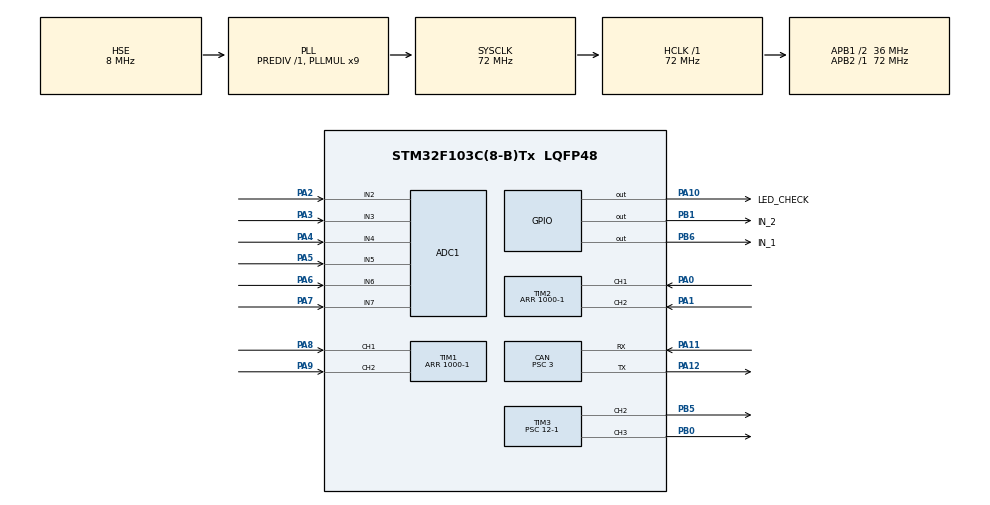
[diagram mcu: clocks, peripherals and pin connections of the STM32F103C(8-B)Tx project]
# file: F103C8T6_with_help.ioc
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ADC1.Channel-10\#ChannelRegularConversion=ADC_CHANNEL_2
ADC1.Channel-11\#ChannelRegularConversion=ADC_CHANNEL_3
ADC1.Channel-12\#ChannelRegularConversion=ADC_CHANNEL_4
ADC1.Channel-13\#ChannelRegularConversion=ADC_CHANNEL_5
ADC1.Channel-14\#ChannelRegularConversion=ADC_CHANNEL_6
ADC1.Channel-15\#ChannelRegularConversion=ADC_CHANNEL_7
ADC1.ContinuousConvMode=ENABLE
ADC1.DiscontinuousConvMode=DISABLE
ADC1.EnableInjectedConversion=DISABLE
ADC1.EnableRegularConversion=ENABLE
ADC1.ExternalTrigConv=ADC_EXTERNALTRIGCONV_T3_TRGO
ADC1.ExternalTrigInjecConv=ADC_INJECTED_SOFTWARE_START
ADC1.InjNumberOfConversion=4
ADC1.NbrOfConversion=6
ADC1.NbrOfConversionFlag=1
ADC1.Rank-10\#ChannelRegularConversion=1
ADC1.Rank-11\#ChannelRegularConversion=2
ADC1.Rank-12\#ChannelRegularConversion=3
ADC1.Rank-13\#ChannelRegularConversion=4
ADC1.Rank-14\#ChannelRegularConversion=5
ADC1.Rank-15\#ChannelRegularConversion=6
ADC1.SamplingTime-10\#ChannelRegularConversion=ADC_SAMPLETIME_239CYCLES_5
ADC1.SamplingTime-11\#ChannelRegularConversion=ADC_SAMPLETIME_239CYCLES_5
ADC1.SamplingTime-12\#ChannelRegularConversion=ADC_SAMPLETIME_239CYCLES_5
ADC1.SamplingTime-13\#ChannelRegularConversion=ADC_SAMPLETIME_239CYCLES_5
ADC1.SamplingTime-14\#ChannelRegularConversion=ADC_SAMPLETIME_239CYCLES_5
ADC1.SamplingTime-15\#ChannelRegularConversion=ADC_SAMPLETIME_239CYCLES_5
ADC1.master=1
CAN.ABOM=ENABLE
CAN.AWUM=ENABLE
CAN.BS1=CAN_BS1_10TQ
CAN.CalculateBaudRate=999999
CAN.CalculateTimeBit=1000
CAN.CalculateTimeQuantum=83.33333333333334
CAN.NART=ENABLE
CAN.Prescaler=3
CAN.RFLM=ENABLE
CAN.TXFP=ENABLE
Dma.ADC1.0.Direction=DMA_PERIPH_TO_MEMORY
Dma.ADC1.0.Instance=DMA1_Channel1
Dma.ADC1.0.MemDataAlignment=DMA_MDATAALIGN_HALFWORD
Dma.ADC1.0.MemInc=DMA_MINC_ENABLE
Dma.ADC1.0.Mode=DMA_CIRCULAR
Dma.ADC1.0.PeriphDataAlignment=DMA_PDATAALIGN_HALFWORD
Dma.ADC1.0.PeriphInc=DMA_PINC_DISABLE
Dma.ADC1.0.Priority=DMA_PRIORITY_VERY_HIGH
Dma.Request0=ADC1
Mcu.Family=STM32F1
Mcu.Name=STM32F103C(8-B)Tx
Mcu.Package=LQFP48
NVIC.ADC1_2_IRQn=true\:0\:0\:false\:false\:true\:true\:true\:true
NVIC.CAN1_RX1_IRQn=true\:0\:0\:false\:false\:true\:true\:true\:true
NVIC.CAN1_SCE_IRQn=true\:0\:0\:false\:false\:true\:true\:true\:true
NVIC.DMA1_Channel1_IRQn=true\:0\:0\:false\:false\:true\:false\:true\:true
NVIC.PriorityGroup=NVIC_PRIORITYGROUP_4
NVIC.TIM3_IRQn=true\:0\:0\:false\:false\:true\:true\:true\:true
NVIC.TIM4_IRQn=true\:0\:0\:false\:false\:true\:true\:true\:true
NVIC.USB_HP_CAN1_TX_IRQn=true\:0\:0\:false\:false\:true\:true\:true\:true
NVIC.USB_LP_CAN1_RX0_IRQn=true\:0\:0\:false\:false\:true\:true\:true\:true
PA0-WKUP.Signal=S_TIM2_CH1_ETR
PA1.Signal=S_TIM2_CH2
PA10.GPIO_Label=LED_CHECK
PA10.Signal=GPIO_Output
PA11.Mode=CAN_Activate
PA11.Signal=CAN_RX
PA12.Mode=CAN_Activate
PA12.Signal=CAN_TX
PA13.Mode=Serial_Wire
PA13.Signal=SYS_JTMS-SWDIO
PA14.Mode=Serial_Wire
PA14.Signal=SYS_JTCK-SWCLK
PA2.Signal=ADCx_IN2
PA3.Signal=ADCx_IN3
PA4.Signal=ADCx_IN4
PA5.Signal=ADCx_IN5
PA6.Signal=ADCx_IN6
PA7.Signal=ADCx_IN7
PA8.Signal=S_TIM1_CH1
PA9.Signal=S_TIM1_CH2
PB0.Signal=S_TIM3_CH3
PB1.GPIO_Label=IN_2
PB1.Signal=GPIO_Output
PB5.Signal=S_TIM3_CH2
PB6.GPIO_Label=IN_1
PB6.Signal=GPIO_Output
PD0-OSC_IN.Mode=HSE-External-Oscillator
PD0-OSC_IN.Signal=RCC_OSC_IN
PD1-OSC_OUT.Mode=HSE-External-Oscillator
PD1-OSC_OUT.Signal=RCC_OSC_OUT
ProjectManager.HeapSize=0x200
ProjectManager.StackSize=0x400
ProjectManager.TargetToolchain=STM32CubeIDE
RCC.ADCPresc=RCC_ADCPCLK2_DIV6
RCC.AHBFreq_Value=72000000
RCC.APB1CLKDivider=RCC_HCLK_DIV2
RCC.APB1Freq_Value=36000000
RCC.APB1TimFreq_Value=72000000
RCC.APB2Freq_Value=72000000
RCC.APB2TimFreq_Value=72000000
RCC.HCLKFreq_Value=72000000
RCC.PLLMUL=RCC_PLL_MUL9
RCC.PLLSourceVirtual=RCC_PLLSOURCE_HSE
RCC.SYSCLKFreq_VALUE=72000000
RCC.SYSCLKSource=RCC_SYSCLKSOURCE_PLLCLK
RCC.USBFreq_Value=72000000
SH.ADCx_IN2.0=ADC1_IN2,IN2
SH.ADCx_IN3.0=ADC1_IN3,IN3
SH.ADCx_IN4.0=ADC1_IN4,IN4
SH.ADCx_IN5.0=ADC1_IN5,IN5
SH.ADCx_IN6.0=ADC1_IN6,IN6
SH.ADCx_IN7.0=ADC1_IN7,IN7
SH.S_TIM1_CH1.0=TIM1_CH1,Encoder_Interface
SH.S_TIM1_CH2.0=TIM1_CH2,Encoder_Interface
SH.S_TIM2_CH1_ETR.0=TIM2_CH1,Encoder_Interface
SH.S_TIM2_CH2.0=TIM2_CH2,Encoder_Interface
SH.S_TIM3_CH2.0=TIM3_CH2,PWM Generation2 CH2
SH.S_TIM3_CH3.0=TIM3_CH3,PWM Generation3 CH3
TIM1.IC1Filter=4
TIM1.IC2Filter=4
TIM1.Period=1000-1
TIM2.IC1Filter=4
TIM2.IC2Filter=4
TIM2.Period=1000-1
TIM3.Channel-PWM\ Generation2\ CH2=TIM_CHANNEL_2
TIM3.Channel-PWM\ Generation3\ CH3=TIM_CHANNEL_3
TIM3.CounterMode=TIM_COUNTERMODE_CENTERALIGNED1
TIM3.Period=1000-1
TIM3.Prescaler=12-1
TIM3.TIM_MasterOutputTrigger=TIM_TRGO_UPDATE
TIM4.Period=1000-1
TIM4.Prescaler=12-1
VP_CRC_VS_CRC.Mode=CRC_Activate
VP_TIM4_VS_ClockSourceINT.Mode=Internal
board=custom

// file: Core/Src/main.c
/* USER CODE BEGIN Header */
/**
 ******************************************************************************
 * @file           : main.c
 * @brief          : Main program body
 ******************************************************************************
 * @attention
 *
 * Copyright (c) 2022 STMicroelectronics.
 * All rights reserved.
 *
 * This software is licensed under terms that can be found in the LICENSE file
 * in the root directory of this software component.
 * If no LICENSE file comes with this software, it is provided AS-IS.
 *
 ******************************************************************************
 */
/* USER CODE END Header */
#include "main.h"
#include "adc.h"
#include "can.h"
#include "crc.h"
#include "dma.h"
#include "tim.h"
#include "gpio.h"

/* USER CODE BEGIN PV */
// Motors
uint8_t type_system = 0;

/* USER CODE END PV */

void SystemClock_Config(void);

int main(void) {

	/* MCU Configuration--------------------------------------------------------*/

	/* Reset of all peripherals, Initializes the Flash interface and the Systick. */
	HAL_Init();

	/* USER CODE BEGIN Init */

	// ------------- ВЫБОР МОСТА ------------//
	number_bridge = 1;
	// ------------- ВЫБОР МОСТА ------------//
	/* USER CODE END Init */

	/* Configure the system clock */
	SystemClock_Config();

	/* Initialize all configured peripherals */
	MX_GPIO_Init();
	MX_DMA_Init();
	MX_ADC1_Init();
	MX_TIM1_Init();
	MX_TIM2_Init();
	MX_TIM3_Init();
	MX_CRC_Init();
	MX_TIM4_Init();
	MX_CAN_Init();
	/* USER CODE BEGIN 2 */
	init_all();

	/*	init_CAN_TX();
	 HAL_CAN_Start(&hcan);
	 HAL_CAN_ActivateNotification(&hcan,
	 CAN_IT_RX_FIFO0_MSG_PENDING | CAN_IT_RX_FIFO1_MSG_PENDING);*/
	/* USER CODE END 2 */

	/* Infinite loop */
	/* USER CODE BEGIN WHILE */
	while (1) {
//		send_info_CAN();
		pid_enable();
		if (adcFlag == 1) {
			adcFlag = 0;
			current_voltage(adcValueCh1, adcValueCh2);
		}
		if (enc_flag == 1) {
			enc_flag = 0;
			speed_angle();
		}
		/* USER CODE END WHILE */

	}
}

void SystemClock_Config(void) {
	RCC_OscInitTypeDef RCC_OscInitStruct = { 0 };
	RCC_ClkInitTypeDef RCC_ClkInitStruct = { 0 };
	RCC_PeriphCLKInitTypeDef PeriphClkInit = { 0 };

	/** Initializes the RCC Oscillators according to the specified parameters
	 * in the RCC_OscInitTypeDef structure.
	 */
	RCC_OscInitStruct.OscillatorType = RCC_OSCILLATORTYPE_HSE;
	RCC_OscInitStruct.HSEState = RCC_HSE_ON;
	RCC_OscInitStruct.HSEPredivValue = RCC_HSE_PREDIV_DIV1;
	RCC_OscInitStruct.HSIState = RCC_HSI_ON;
	RCC_OscInitStruct.PLL.PLLState = RCC_PLL_ON;
	RCC_OscInitStruct.PLL.PLLSource = RCC_PLLSOURCE_HSE;
	RCC_OscInitStruct.PLL.PLLMUL = RCC_PLL_MUL9;
	if (HAL_RCC_OscConfig(&RCC_OscInitStruct) != HAL_OK) {
		Error_Handler();
	}

	/** Initializes the CPU, AHB and APB buses clocks
	 */
	RCC_ClkInitStruct.ClockType = RCC_CLOCKTYPE_HCLK | RCC_CLOCKTYPE_SYSCLK
			| RCC_CLOCKTYPE_PCLK1 | RCC_CLOCKTYPE_PCLK2;
	RCC_ClkInitStruct.SYSCLKSource = RCC_SYSCLKSOURCE_PLLCLK;
	RCC_ClkInitStruct.AHBCLKDivider = RCC_SYSCLK_DIV1;
	RCC_ClkInitStruct.APB1CLKDivider = RCC_HCLK_DIV2;
	RCC_ClkInitStruct.APB2CLKDivider = RCC_HCLK_DIV1;

	if (HAL_RCC_ClockConfig(&RCC_ClkInitStruct, FLASH_LATENCY_2) != HAL_OK) {
		Error_Handler();
	}
	PeriphClkInit.PeriphClockSelection = RCC_PERIPHCLK_ADC;
	PeriphClkInit.AdcClockSelection = RCC_ADCPCLK2_DIV6;
	if (HAL_RCCEx_PeriphCLKConfig(&PeriphClkInit) != HAL_OK) {
		Error_Handler();
	}
}

/* USER CODE BEGIN 4 */

void init_all() {
	init_adc_base();
	set_struct_motors();
	koef_pid();
	init_motor_1();
	init_motor_2();
	filters_init(g_fs_hz, g_fc_hz);

}

void pid_enable() {
	if (pid_flag == 1) {
		pid_flag = 0;
		motor_1.speed_scale = ((float) rc_speed_limit1 / 255.0f) * 2;
		motor_2.speed_scale = ((float) rc_speed_limit2 / 255.0f) * 2;
		switch (rc_other1_system_type) {
		case 0:
			pid_angle_speed_curr(&motor_1, rc_angle1);
			break;
		case 1:
			pid_angle_speed(&motor_1, rc_angle1);
			break;
		case 2:
			pid_angle_curr(&motor_1, rc_angle1);
			break;
		case 3:
			pid_angle(&motor_1, rc_angle1);
			break;
		case 4:
			pid_speed_curr(&motor_1, rc_angle1);
			break;
		case 5:
			pid_speed(&motor_1, rc_angle1);
			break;
		case 6:
			pid_curr(&motor_1, rc_angle1);
			break;
		default:
			break;
		}

		switch (rc_other2_system_type) {
		case 0:
			pid_angle_speed_curr(&motor_2, rc_angle2);
			break;
		case 1:
			pid_angle_speed(&motor_2, rc_angle2);
			break;
		case 2:
			pid_angle_curr(&motor_2, rc_angle2);
			break;
		case 3:
			pid_angle(&motor_2, rc_angle2);
			break;
		case 4:
			pid_speed_curr(&motor_2, rc_angle2);
			break;
		case 5:
			pid_speed(&motor_2, rc_angle2);
			break;
		case 6:
			pid_curr(&motor_2, rc_angle2);
			break;
		default:
			break;
		}
	}
}

/* USER CODE END 4 */

void Error_Handler(void) {
	__disable_irq();
	while (1) {
	}
}
